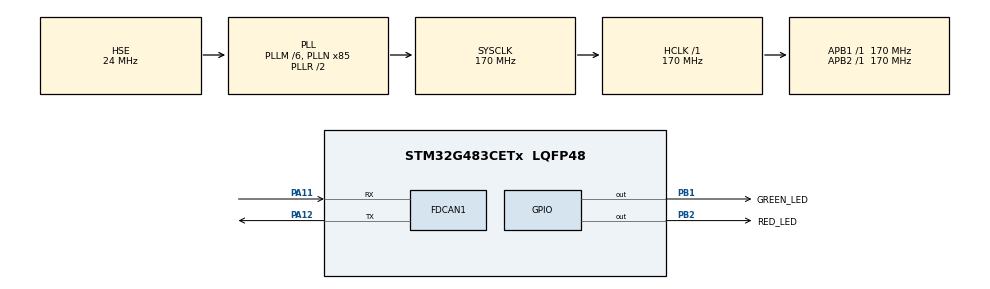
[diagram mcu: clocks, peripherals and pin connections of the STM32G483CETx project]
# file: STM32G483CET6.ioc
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FDCAN1.CalculateBaudRateNominal=1000000
FDCAN1.CalculateTimeBitNominal=1000
FDCAN1.CalculateTimeQuantumNominal=100.0
FDCAN1.ExtFiltersNbr=1
FDCAN1.NominalPrescaler=17
FDCAN1.NominalTimeSeg1=7
FDCAN1.NominalTimeSeg2=2
FDCAN1.StdFiltersNbr=0
FREERTOS.Tasks01=defaultTask,24,128,StartDefaultTask,Default,NULL,Dynamic,NULL,NULL
FREERTOS.configUSE_NEWLIB_REENTRANT=1
Mcu.Family=STM32G4
Mcu.Name=STM32G483CETx
Mcu.Package=LQFP48
NVIC.PriorityGroup=NVIC_PRIORITYGROUP_4
NVIC.TIM1_UP_TIM16_IRQn=true\:15\:0\:false\:false\:true\:false\:false\:true\:true
NVIC.TimeBase=TIM1_UP_TIM16_IRQn
NVIC.TimeBaseIP=TIM1
PA11.Mode=FDCAN_Activate
PA11.Signal=FDCAN1_RX
PA12.Mode=FDCAN_Activate
PA12.Signal=FDCAN1_TX
PA13.Mode=Serial_Wire
PA13.Signal=SYS_JTMS-SWDIO
PA14.Mode=Serial_Wire
PA14.Signal=SYS_JTCK-SWCLK
PB1.GPIO_Label=GREEN_LED
PB1.Signal=GPIO_Output
PB2.GPIO_Label=RED_LED
PB2.Signal=GPIO_Output
PF0-OSC_IN.Mode=HSE-External-Oscillator
PF0-OSC_IN.Signal=RCC_OSC_IN
PF1-OSC_OUT.Mode=HSE-External-Oscillator
PF1-OSC_OUT.Signal=RCC_OSC_OUT
ProjectManager.HeapSize=0x200
ProjectManager.StackSize=0x400
ProjectManager.TargetToolchain=STM32CubeIDE
RCC.ADC12Freq_Value=170000000
RCC.ADC345Freq_Value=170000000
RCC.AHBFreq_Value=170000000
RCC.APB1Freq_Value=170000000
RCC.APB1TimFreq_Value=170000000
RCC.APB2Freq_Value=170000000
RCC.APB2TimFreq_Value=170000000
RCC.CortexFreq_Value=170000000
RCC.EXTERNAL_CLOCK_VALUE=12288000
RCC.HCLKFreq_Value=170000000
RCC.HSE_VALUE=24000000
RCC.HSI48_VALUE=48000000
RCC.HSI_VALUE=16000000
RCC.LSE_VALUE=32768
RCC.PLLM=RCC_PLLM_DIV6
RCC.PLLN=85
RCC.PLLSourceVirtual=RCC_PLLSOURCE_HSE
RCC.SYSCLKFreq_VALUE=170000000
RCC.SYSCLKSource=RCC_SYSCLKSOURCE_PLLCLK
RCC.USBFreq_Value=170000000
RCC.VCOOutputFreq_Value=340000000
VP_FREERTOS_VS_CMSIS_V2.Mode=CMSIS_V2
VP_SYS_VS_DBSignals.Mode=DisableDeadBatterySignals
VP_SYS_VS_tim1.Mode=TIM1
board=custom

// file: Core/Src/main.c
/* USER CODE BEGIN Header */
/**
  ******************************************************************************
  * @file           : main.c
  * @brief          : Main program body
  ******************************************************************************
  * @attention
  *
  * Copyright (c) 2025 STMicroelectronics.
  * All rights reserved.
  *
  * This software is licensed under terms that can be found in the LICENSE file
  * in the root directory of this software component.
  * If no LICENSE file comes with this software, it is provided AS-IS.
  *
  ******************************************************************************
  */
/* USER CODE END Header */
#include "main.h"
#include "cmsis_os.h"

/* USER CODE BEGIN Includes */
#include <string.h>              // for memcpy
#include <stdio.h>
#include <time.h>
#include "canard.h"
#include <assert.h>
#include <errno.h>
#include <stdbool.h>
/* USER CODE END Includes */

FDCAN_HandleTypeDef hfdcan1;

/* Definitions for defaultTask */
osThreadId_t defaultTaskHandle;
const osThreadAttr_t defaultTask_attributes = {
  .name = "defaultTask",
  .priority = (osPriority_t) osPriorityNormal,
  .stack_size = 128 * 4
};

void SystemClock_Config(void);
static void MX_GPIO_Init(void);
static void MX_FDCAN1_Init(void);
void StartDefaultTask(void *argument);

/* USER CODE BEGIN 0 */

/*
  libcanard library instance and a memory pool for it to use
 */
static CanardInstance canard;
static uint8_t canard_memory_pool[1024]; // Adjust size as needed

/* USER CODE END 0 */

int main(void)
{

  /* MCU Configuration--------------------------------------------------------*/

  /* Reset of all peripherals, Initializes the Flash interface and the Systick. */
  HAL_Init();

  /* Configure the system clock */
  SystemClock_Config();

  /* Initialize all configured peripherals */
  MX_GPIO_Init();
  MX_FDCAN1_Init();
  /* USER CODE BEGIN 2 */

  // Start FDCAN
  HAL_FDCAN_Start(&hfdcan1);

  // Simulate a message reception (for testing only)
  FDCAN_RxHeaderTypeDef testHeader = {
      .Identifier = 0x123,
      .IdType = FDCAN_EXTENDED_ID,
      .RxFrameType = FDCAN_DATA_FRAME,
      .DataLength = FDCAN_DLC_BYTES_8
  };
  uint8_t testData[8] = {0xDE, 0xAD, 0xBE, 0xEF, 0, 0, 0, 0};

  // Call the callback manually
  HAL_FDCAN_RxFifo0Callback(&hfdcan1, FDCAN_IT_RX_FIFO0_NEW_MESSAGE);

  // Activate RX FIFO0 message pending interrupt
  HAL_FDCAN_ActivateNotification(&hfdcan1,
      FDCAN_IT_RX_FIFO0_NEW_MESSAGE |
      FDCAN_IT_RX_FIFO0_FULL |
      FDCAN_IT_RX_FIFO0_MESSAGE_LOST,
      0);

  // Configure filter
  FDCAN_FilterTypeDef sFilterConfig;
  sFilterConfig.IdType = FDCAN_STANDARD_ID;
  sFilterConfig.FilterIndex = 0;
  sFilterConfig.FilterType = FDCAN_FILTER_MASK;
  sFilterConfig.FilterConfig = FDCAN_FILTER_TO_RXFIFO0;
  sFilterConfig.FilterID1 = 0x000;       // Filter ID
  sFilterConfig.FilterID2 = 0x7FF;       // Filter Mask - accept all

  HAL_FDCAN_ConfigFilter(&hfdcan1, &sFilterConfig);

  /* USER CODE END 2 */

  /* Init scheduler */
  osKernelInitialize();

  /* Create the thread(s) */
  /* creation of defaultTask */
  defaultTaskHandle = osThreadNew(StartDefaultTask, NULL, &defaultTask_attributes);

  /* Start scheduler */
  osKernelStart();

  /* We should never get here as control is now taken by the scheduler */

  /* Infinite loop */
  while (1)
  {

  }
}

void SystemClock_Config(void)
{
  RCC_OscInitTypeDef RCC_OscInitStruct = {0};
  RCC_ClkInitTypeDef RCC_ClkInitStruct = {0};

  /** Configure the main internal regulator output voltage
  */
  HAL_PWREx_ControlVoltageScaling(PWR_REGULATOR_VOLTAGE_SCALE1_BOOST);

  /** Initializes the RCC Oscillators according to the specified parameters
  * in the RCC_OscInitTypeDef structure.
  */
  RCC_OscInitStruct.OscillatorType = RCC_OSCILLATORTYPE_HSE;
  RCC_OscInitStruct.HSEState = RCC_HSE_ON;
  RCC_OscInitStruct.PLL.PLLState = RCC_PLL_ON;
  RCC_OscInitStruct.PLL.PLLSource = RCC_PLLSOURCE_HSE;
  RCC_OscInitStruct.PLL.PLLM = RCC_PLLM_DIV6;
  RCC_OscInitStruct.PLL.PLLN = 85;
  RCC_OscInitStruct.PLL.PLLP = RCC_PLLP_DIV2;
  RCC_OscInitStruct.PLL.PLLQ = RCC_PLLQ_DIV2;
  RCC_OscInitStruct.PLL.PLLR = RCC_PLLR_DIV2;
  if (HAL_RCC_OscConfig(&RCC_OscInitStruct) != HAL_OK)
  {
    Error_Handler();
  }

  /** Initializes the CPU, AHB and APB buses clocks
  */
  RCC_ClkInitStruct.ClockType = RCC_CLOCKTYPE_HCLK|RCC_CLOCKTYPE_SYSCLK
                              |RCC_CLOCKTYPE_PCLK1|RCC_CLOCKTYPE_PCLK2;
  RCC_ClkInitStruct.SYSCLKSource = RCC_SYSCLKSOURCE_PLLCLK;
  RCC_ClkInitStruct.AHBCLKDivider = RCC_SYSCLK_DIV1;
  RCC_ClkInitStruct.APB1CLKDivider = RCC_HCLK_DIV1;
  RCC_ClkInitStruct.APB2CLKDivider = RCC_HCLK_DIV1;

  if (HAL_RCC_ClockConfig(&RCC_ClkInitStruct, FLASH_LATENCY_4) != HAL_OK)
  {
    Error_Handler();
  }
}

static void MX_FDCAN1_Init(void)
{

  hfdcan1.Instance = FDCAN1;
  hfdcan1.Init.ClockDivider = FDCAN_CLOCK_DIV1;
  hfdcan1.Init.FrameFormat = FDCAN_FRAME_CLASSIC;
  hfdcan1.Init.Mode = FDCAN_MODE_NORMAL;
  hfdcan1.Init.AutoRetransmission = DISABLE;
  hfdcan1.Init.TransmitPause = DISABLE;
  hfdcan1.Init.ProtocolException = DISABLE;
  hfdcan1.Init.NominalPrescaler = 17;
  hfdcan1.Init.NominalSyncJumpWidth = 1;
  hfdcan1.Init.NominalTimeSeg1 = 8;
  hfdcan1.Init.NominalTimeSeg2 = 1;
  hfdcan1.Init.DataPrescaler = 1;
  hfdcan1.Init.DataSyncJumpWidth = 1;
  hfdcan1.Init.DataTimeSeg1 = 1;
  hfdcan1.Init.DataTimeSeg2 = 1;
  hfdcan1.Init.StdFiltersNbr = 0;
  hfdcan1.Init.ExtFiltersNbr = 0;
  hfdcan1.Init.TxFifoQueueMode = FDCAN_TX_FIFO_OPERATION;
  if (HAL_FDCAN_Init(&hfdcan1) != HAL_OK)
  {
    Error_Handler();
  }

}

static void MX_GPIO_Init(void)
{
  GPIO_InitTypeDef GPIO_InitStruct = {0};

  /* GPIO Ports Clock Enable */
  __HAL_RCC_GPIOF_CLK_ENABLE();
  __HAL_RCC_GPIOB_CLK_ENABLE();
  __HAL_RCC_GPIOA_CLK_ENABLE();

  /*Configure GPIO pin Output Level */
  HAL_GPIO_WritePin(GPIOB, GREEN_LED_Pin|RED_LED_Pin, GPIO_PIN_RESET);

  /*Configure GPIO pins : GREEN_LED_Pin RED_LED_Pin */
  GPIO_InitStruct.Pin = GREEN_LED_Pin|RED_LED_Pin;
  GPIO_InitStruct.Mode = GPIO_MODE_OUTPUT_PP;
  GPIO_InitStruct.Pull = GPIO_NOPULL;
  GPIO_InitStruct.Speed = GPIO_SPEED_FREQ_LOW;
  HAL_GPIO_Init(GPIOB, &GPIO_InitStruct);

}

/* USER CODE BEGIN 4 */
void HAL_FDCAN_RxFifo0Callback(FDCAN_HandleTypeDef *hfdcan, uint32_t RxFifo0ITs) {
    if ((RxFifo0ITs & FDCAN_IT_RX_FIFO0_NEW_MESSAGE) != 0) {
        FDCAN_RxHeaderTypeDef rx_header;
        uint8_t rx_data[8];
        HAL_FDCAN_GetRxMessage(hfdcan, FDCAN_RX_FIFO0, &rx_header, rx_data);

        CanardCANFrame rx_frame = {
            .id = rx_header.Identifier,
            .data = {0},
            .data_len = 8
        };
        memcpy(rx_frame.data, rx_data, 8);
        canardHandleRxFrame(&canard, &rx_frame, HAL_GetTick() * 1000);
    }
}
/* USER CODE END 4 */

void StartDefaultTask(void *argument)
{
  /* USER CODE BEGIN 5 */
	canardInit(
				&canard,
				canard_memory_pool,
				sizeof(canard_memory_pool),
				NULL,
				NULL,
				NULL
		);

		/*
		  in this simple example we will use a fixed CAN node ID. This would
		  need to be a parameter or use dynamic node allocation in a real
		  application
		 */
		canard.node_id = 42; // Set your node ID

		static uint8_t transfer_id = 	0;

	  /* Infinite loop */
	  for(;;)
	  {

	      // Create a dummy payload
		  uint8_t payload[] = {0xAA, 0xBB, 0xCC};

		  // Create a transfer
		  const int16_t result = canardBroadcast(
				  &canard,
				  0x123456789ABCDEF0ULL, // data_type_signature (use correct one for your message
				  1234, // Subject-ID (port ID)
				  &transfer_id, // pointer to transfer
				  0, // priority (0 = nominal
				  payload, // pointer to payload
				  sizeof(payload) // payload
		  );
		  if (result < 0)
		  {
			  // Handle error (e.g., out of memory)
		  }

		  // Peek and send via FDCAN
		  CanardCANFrame* tx_frame = NULL;
		  while ((tx_frame = canardPeekTxQueue(&canard)) != NULL)
		  {
		      FDCAN_TxHeaderTypeDef tx_header;
		      tx_header.Identifier = tx_frame->id;
		      tx_header.IdType = FDCAN_EXTENDED_ID;
		      tx_header.TxFrameType = FDCAN_DATA_FRAME;
		      tx_header.DataLength = FDCAN_DLC_BYTES_8;
		      tx_header.ErrorStateIndicator = FDCAN_ESI_ACTIVE;
		      tx_header.BitRateSwitch = FDCAN_BRS_OFF;
		      tx_header.FDFormat = FDCAN_CLASSIC_CAN;
		      tx_header.TxEventFifoControl = FDCAN_NO_TX_EVENTS;
		      tx_header.MessageMarker = 0;

		      HAL_FDCAN_AddMessageToTxFifoQ(&hfdcan1, &tx_header, tx_frame->data);

		      canardPopTxQueue(&canard);
		  }

		  osDelay(500); // Send every second

	  }
  /* USER CODE END 5 */
}

void HAL_TIM_PeriodElapsedCallback(TIM_HandleTypeDef *htim)
{
  if (htim->Instance == TIM1)
  {
    HAL_IncTick();
  }
}

void Error_Handler(void)
{
  __disable_irq();
  while (1)
  {
  }
}
